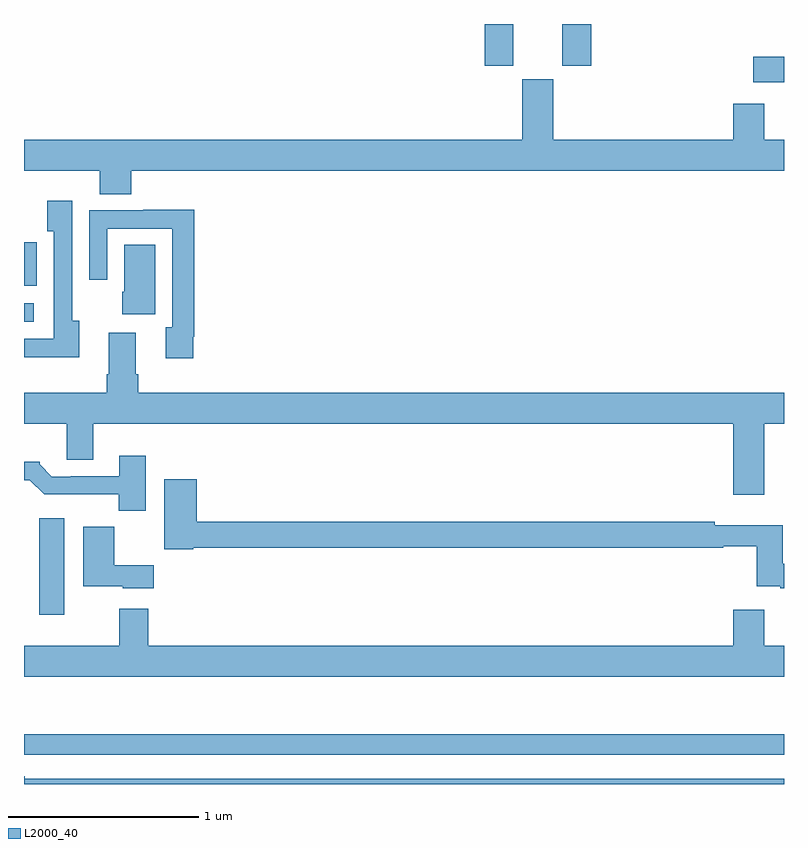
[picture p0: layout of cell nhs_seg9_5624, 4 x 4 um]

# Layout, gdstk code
import gdstk
lib = gdstk.Library(unit=1e-6, precision=1e-09)
def R(c, l, rs):  # rectangles x0, y0, x1, y1
    for r in rs: c.add(gdstk.rectangle(r[:2], r[2:], *l))
def P(c, l, *ps):  # polygons
    for p in ps: c.add(gdstk.Polygon(p, *l))
L2000_40 = (2000, 40)

nhs_seg9_5624 = lib.new_cell('nhs_seg9_5624')
R(nhs_seg9_5624, L2000_40, [(437,1218.654,441,1218.763), (437.081,1219.392,437.212,1219.9), (437,1220.934,437.05,1221.03), (437,1221.123,437.068,1221.351), (440.838,1222.193,441,1222.328), (439.424,1222.281,439.576,1222.5), (439.832,1222.281,439.985,1222.5)])
P(nhs_seg9_5624, L2000_40, [(437.564,1221.728),(441,1221.728),(441,1221.892),(440.896,1221.892),(440.896,1222.081),(440.732,1222.081),(440.732,1221.892),(439.786,1221.892),(439.786,1222.209),(439.622,1222.209),(439.622,1221.892),(437,1221.892),(437,1221.728),(437.399,1221.728),(437.399,1221.604),(437.564,1221.604)],
  [(437.29,1220.938),(437.253,1220.938),(437.253,1221.571),(437.123,1221.571),(437.123,1221.41),(437.157,1221.41),(437.157,1220.844),(437,1220.844),(437,1220.747),(437.29,1220.747)],
  [(437.89,1220.854),(437.897,1220.854),(437.897,1221.523),(437.627,1221.523),(437.627,1221.519),(437.343,1221.519),(437.343,1221.153),(437.439,1221.153),(437.439,1221.423),(437.781,1221.423),(437.781,1220.903),(437.747,1220.903),(437.747,1220.742),(437.89,1220.742)],
  [(437.692,1221.337),(437.528,1221.337),(437.528,1221.09),(437.516,1221.09),(437.516,1220.972),(437.692,1220.972)],
  [(440.896,1220.396),(441,1220.396),(441,1220.56),(437.6,1220.56),(437.6,1220.656),(437.587,1220.656),(437.587,1220.875),(437.447,1220.875),(437.447,1220.656),(437.435,1220.656),(437.435,1220.56),(437,1220.56),(437,1220.396),(437.225,1220.396),(437.225,1220.206),(437.365,1220.206),(437.365,1220.396),(440.732,1220.396),(440.732,1220.022),(440.896,1220.022)],
  [(437.641,1220.227),(437.501,1220.227),(437.501,1220.121),(437.245,1220.121),(437.245,1220.118),(437.146,1220.118),(437.082,1220.182),(437.082,1220.197),(437,1220.197),(437,1220.1),(437.031,1220.1),(437.107,1220.024),(437.499,1220.024),(437.499,1219.937),(437.641,1219.937)],
  [(441,1219.658),(440.993,1219.658),(440.993,1219.861),(440.636,1219.861),(440.636,1219.88),(437.909,1219.88),(437.909,1220.104),(437.738,1220.104),(437.738,1219.736),(437.892,1219.736),(437.892,1219.744),(440.68,1219.744),(440.68,1219.752),(440.857,1219.752),(440.857,1219.542),(440.98,1219.542),(440.98,1219.53),(441,1219.53)],
  [(437.683,1219.651),(437.474,1219.651),(437.474,1219.855),(437.312,1219.855),(437.312,1219.541),(437.52,1219.541),(437.52,1219.529),(437.683,1219.529)],
  [(441,1219.228),(440.896,1219.228),(440.896,1219.417),(440.732,1219.417),(440.732,1219.228),(437.654,1219.228),(437.654,1219.423),(437.501,1219.423),(437.501,1219.228),(437,1219.228),(437,1219.064),(441,1219.064)],
  [(441,1218.528),(437.004,1218.528),(437.004,1218.541),(437,1218.541),(437,1218.5),(441,1218.5)])

lib.write_gds('nhs_seg9_5624.gds')
